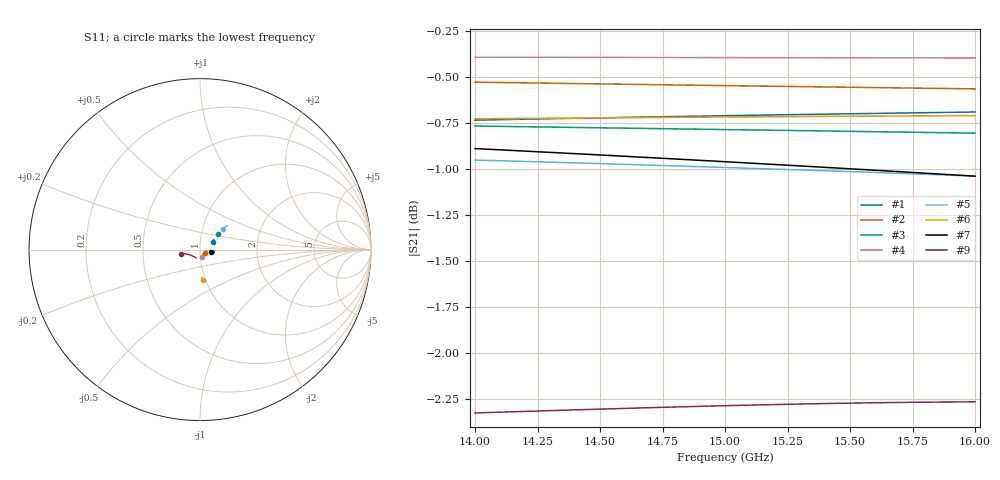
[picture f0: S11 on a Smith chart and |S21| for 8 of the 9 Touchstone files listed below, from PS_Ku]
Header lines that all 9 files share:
# hz S ma R 50
! 2 Port Network Data from Sweep1.SP1.SP block
! freq  magS11  angS11  magS21  angS21  magS12  angS12  magS22  angS22
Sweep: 14 GHz to 16 GHz
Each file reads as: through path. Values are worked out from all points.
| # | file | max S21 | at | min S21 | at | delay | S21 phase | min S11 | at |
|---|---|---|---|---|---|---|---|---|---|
| 1 | 5.625_10_0.s2p | -0.69 dB | 16 GHz | -0.7 dB | 14 GHz | 4.78 ps | -22 deg at 15 GHz | -21.2 dB | 14 GHz |
| 2 | 5.625_10_1.s2p | -0.53 dB | 14 GHz | -0.6 dB | 16 GHz | 4.6 ps | -17 deg at 15 GHz | -28.3 dB | 14.4 GHz |
| 3 | 11.25_10_0.s2p | -0.77 dB | 14 GHz | -0.8 dB | 16 GHz | 4.61 ps | -25 deg at 15 GHz | -17.2 dB | 14 GHz |
| 4 | 11.25_10_1.s2p | -0.39 dB | 14 GHz | -0.4 dB | 16 GHz | 4.68 ps | -15 deg at 15 GHz | -30.6 dB | 16 GHz |
| 5 | 22.5_10_0.s2p | -0.95 dB | 14 GHz | -1.0 dB | 16 GHz | 5.84 ps | -28 deg at 15 GHz | -14.8 dB | 14 GHz |
| 6 | 22.5_10_1.s2p | -0.71 dB | 16 GHz | -0.7 dB | 14 GHz | 4.63 ps | -7 deg at 15 GHz | -15.8 dB | 16 GHz |
| 7 | 45_10_0.s2p | -0.89 dB | 14 GHz | -1.0 dB | 16 GHz | 9.69 ps | -47 deg at 15 GHz | -23.5 dB | 14 GHz |
| 8 | 45_10_1.s2p | -0.72 dB | 16 GHz | -0.8 dB | 14 GHz | - | -2 deg at 15 GHz | -31.6 dB | 15.9 GHz |
| 9 | 90_10_0.s2p | -2.26 dB | 16 GHz | -2.3 dB | 14 GHz | 23.9 ps | -120 deg at 15 GHz | -25.4 dB | 15.9 GHz |
